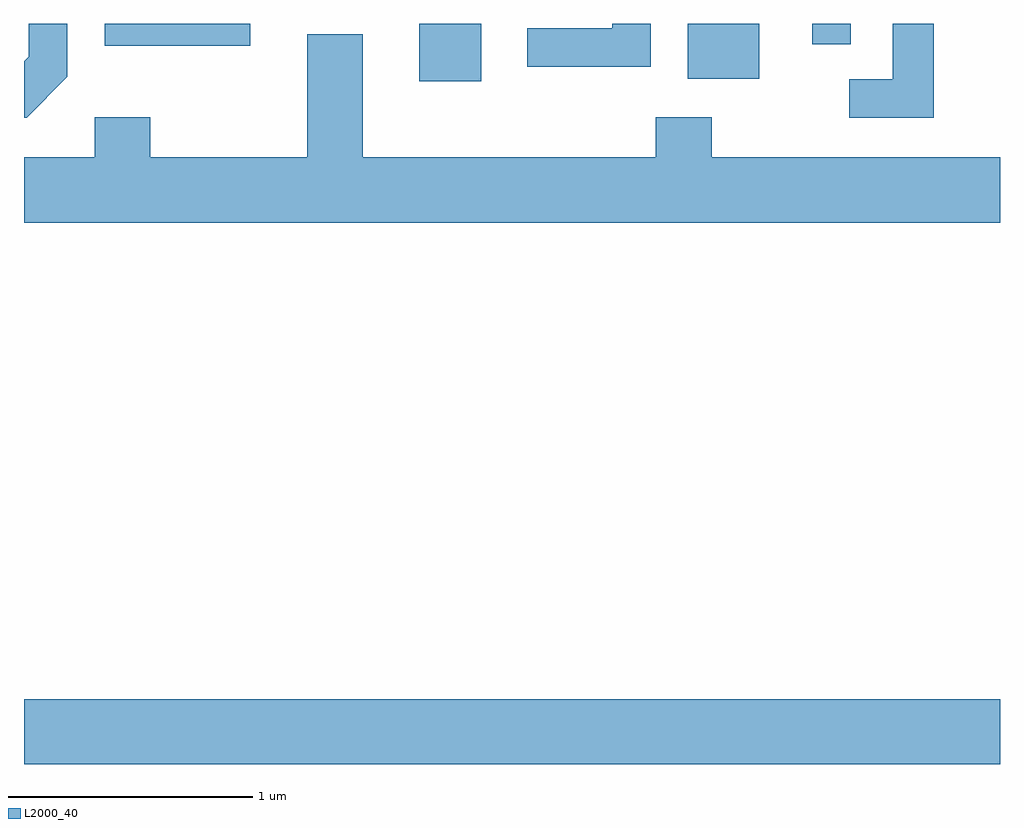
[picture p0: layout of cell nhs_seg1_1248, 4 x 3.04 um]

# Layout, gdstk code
import gdstk
lib = gdstk.Library(unit=1e-6, precision=1e-09)
def R(c, l, rs):  # rectangles x0, y0, x1, y1
    for r in rs: c.add(gdstk.rectangle(r[:2], r[2:], *l))
def P(c, l, *ps):  # polygons
    for p in ps: c.add(gdstk.Polygon(p, *l))
L2000_40 = (2000, 40)

nhs_seg1_1248 = lib.new_cell('nhs_seg1_1248')
R(nhs_seg1_1248, L2000_40, [(223.611,910.676,227.611,910.944), (225.231,913.476,225.484,913.712), (226.331,913.486,226.624,913.712), (223.941,913.621,224.539,913.712), (226.841,913.628,226.999,913.712)])
P(nhs_seg1_1248, L2000_40, [(223.789,913.494),(223.789,913.712),(223.631,913.712),(223.631,913.577),(223.611,913.557),(223.611,913.326),(223.622,913.326)],
  [(227.339,913.712),(227.171,913.712),(227.171,913.484),(226.993,913.484),(226.993,913.326),(227.339,913.326)],
  [(226.179,913.712),(226.021,913.712),(226.021,913.694),(225.673,913.694),(225.673,913.536),(226.179,913.536)],
  [(227.611,913.164),(226.429,913.164),(226.429,913.329),(226.201,913.329),(226.201,913.164),(224.999,913.164),(224.999,913.669),(224.771,913.669),(224.771,913.164),(224.129,913.164),(224.129,913.329),(223.901,913.329),(223.901,913.164),(223.611,913.164),(223.611,912.896),(227.611,912.896)])

lib.write_gds('nhs_seg1_1248.gds')
